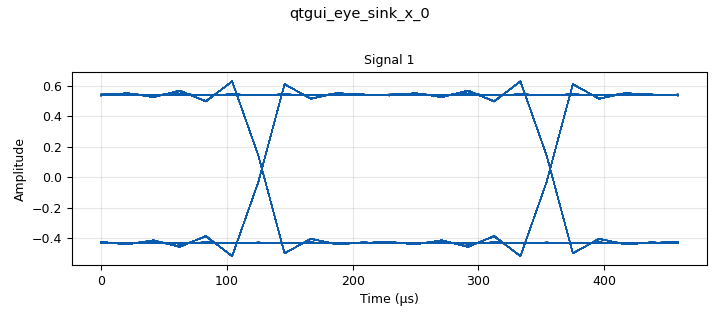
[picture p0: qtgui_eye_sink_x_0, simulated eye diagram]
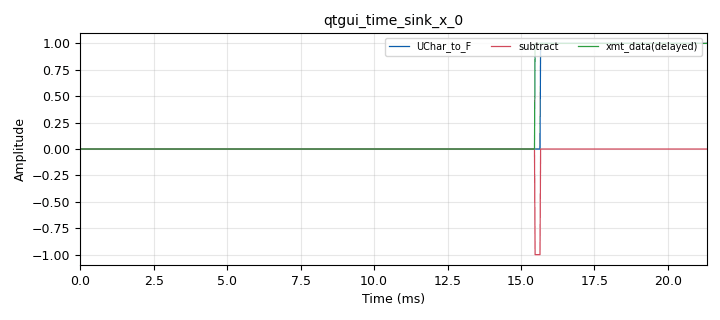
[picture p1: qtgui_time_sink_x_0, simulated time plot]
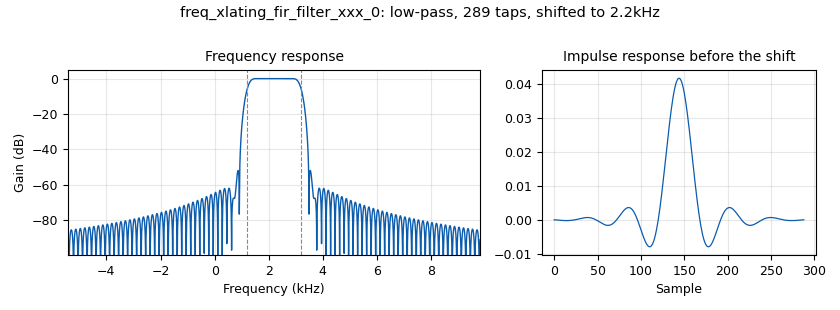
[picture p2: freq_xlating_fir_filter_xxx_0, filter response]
options:
  parameters:
    author: https://wiki.gnuradio.org/index.php/Simulation_example:_FSK
    copyright: Manually entered
    description: 'Trying to understand FSK '
    generate_options: qt_gui
    id: FSK_8BIT_v2
    output_language: python
    title: FSK Round Trip
  states: {}

blocks:
- name: delay
  id: variable_qtgui_range
  parameters:
    label: Delay
    rangeType: int
    start: '10'
    step: '1'
    stop: '200'
    value: '135'
  states: {}
- name: fsk_deviation_hz
  id: variable
  parameters:
    value: '175'
  states: {}
- name: samp_rate
  id: variable
  parameters:
    value: '48000'
  states: {}
- name: sps
  id: variable
  parameters:
    value: '11'
  states: {}
- name: squelch
  id: variable_qtgui_range
  parameters:
    label: Squalch
    rangeType: int
    start: '-100'
    step: '5'
    stop: '0'
    value: '-70'
  states: {}
- name: analog_quadrature_demod_cf_0
  id: analog_quadrature_demod_cf
  parameters:
    gain: 48000/(2*math.pi*fsk_deviation_hz)
  states: {}
- name: analog_random_source_x_0
  id: analog_random_source_x
  parameters:
    max: '256'
    min: '0'
    num_samps: '1024'
    repeat: 'True'
    type: byte
  states: {}
- name: analog_simple_squelch_cc_0
  id: analog_simple_squelch_cc
  parameters:
    alpha: '1'
    comment: Squelch from Gui
    threshold: squelch
  states: {}
- name: blocks_add_const_vxx_0
  id: blocks_add_const_vxx
  parameters:
    comment: |-
      VCO
      Voltage Controlled Oscillator
    const: 850/1000
    type: float
  states: {}
- name: blocks_delay_1
  id: blocks_delay
  parameters:
    delay: delay
    type: float
  states: {}
- name: blocks_multiply_const_vxx_0
  id: blocks_multiply_const_vxx
  parameters:
    comment: input amplification
    const: 68/1000
    type: float
  states: {}
- name: blocks_repeat_0
  id: blocks_repeat
  parameters:
    comment: |-
      Calculated as (int)(samp_rate*bit_time)

      bit_time is the time to send 1 bit of data.
      For RTTY (Ham) 45.45 is baud rate... bit_time is 0.022s
      Note: This is 8 bit... not baudot 5 bit....
    interp: int(samp_rate*0.022)
    type: byte
  states: {}
- name: blocks_sub_xx_0
  id: blocks_sub_xx
  parameters:
    type: float
  states: {}
- name: blocks_throttle2_0
  id: blocks_throttle2
  parameters:
    samples_per_second: samp_rate
    type: byte
  states: {}
- name: blocks_uchar_to_float_0
  id: blocks_uchar_to_float
  parameters:
    comment: Convert from byte to float
  states: {}
- name: blocks_uchar_to_float_1
  id: blocks_uchar_to_float
  parameters: {}
  states: {}
- name: blocks_unpack_k_bits_bb_0
  id: blocks_unpack_k_bits_bb
  parameters:
    comment: Convert byte to 8 bits
    k: '8'
  states: {}
- name: blocks_vco_f_0
  id: blocks_vco_f
  parameters:
    amplitude: 500/1000
    samp_rate: samp_rate
    sensitivity: '15708.0'
  states: {}
- name: digital_binary_slicer_fb_0
  id: digital_binary_slicer_fb
  parameters: {}
  states: {}
- name: freq_xlating_fir_filter_xxx_0
  id: freq_xlating_fir_filter_xxx
  parameters:
    center_freq: '2200'
    decim: '1'
    samp_rate: samp_rate
    taps: firdes.low_pass(1.0,48000,1000,400)
    type: fcf
  states: {}
- name: import_0
  id: import
  parameters: {}
  states: {}
- name: qtgui_eye_sink_x_0
  id: qtgui_eye_sink_x
  parameters:
    autoscale: 'True'
    comment: Output seen when synch close +/- 2 ms
    samp_per_symbol: sps
    size: '16384'
    srate: samp_rate
    type: float
  states: {}
- name: qtgui_time_sink_x_0
  id: qtgui_time_sink_x
  parameters:
    autoscale: 'True'
    label1: UChar_to_F
    label2: subtract
    label3: xmt_data(delayed)
    nconnections: '3'
    size: '1024'
    srate: samp_rate
    type: float
  states: {}
- name: rational_resampler_xxx_0
  id: rational_resampler_xxx
  parameters:
    decim: '96'
    interp: '1'
    type: fff
  states: {}
- name: virtual_sink_0
  id: virtual_sink
  parameters:
    comment: |-
      Mark is 1
      Space is 0
    stream_id: xmt_data
  states: {}
- name: virtual_sink_1
  id: virtual_sink
  parameters:
    stream_id: rebuilt
  states: {}
- name: virtual_sink_2
  id: virtual_sink
  parameters:
    comment: FSK Output
    stream_id: fsk_out
  states: {}
- name: virtual_source_0
  id: virtual_source
  parameters:
    stream_id: xmt_data
  states: {}
- name: virtual_source_1
  id: virtual_source
  parameters:
    stream_id: fsk_out
  states: {}
- name: virtual_source_2
  id: virtual_source
  parameters:
    stream_id: rebuilt
  states: {}
- name: virtual_source_3
  id: virtual_source
  parameters:
    stream_id: xmt_data
  states: {}

connections:
- [analog_quadrature_demod_cf_0, '0', digital_binary_slicer_fb_0, '0']
- [analog_quadrature_demod_cf_0, '0', rational_resampler_xxx_0, '0']
- [analog_random_source_x_0, '0', blocks_unpack_k_bits_bb_0, '0']
- [analog_simple_squelch_cc_0, '0', analog_quadrature_demod_cf_0, '0']
- [blocks_add_const_vxx_0, '0', blocks_vco_f_0, '0']
- [blocks_delay_1, '0', blocks_sub_xx_0, '1']
- [blocks_delay_1, '0', qtgui_time_sink_x_0, '2']
- [blocks_multiply_const_vxx_0, '0', blocks_add_const_vxx_0, '0']
- [blocks_repeat_0, '0', blocks_throttle2_0, '0']
- [blocks_sub_xx_0, '0', qtgui_time_sink_x_0, '1']
- [blocks_throttle2_0, '0', blocks_uchar_to_float_0, '0']
- [blocks_uchar_to_float_0, '0', virtual_sink_0, '0']
- [blocks_uchar_to_float_1, '0', qtgui_time_sink_x_0, '0']
- [blocks_uchar_to_float_1, '0', virtual_sink_1, '0']
- [blocks_unpack_k_bits_bb_0, '0', blocks_repeat_0, '0']
- [blocks_vco_f_0, '0', virtual_sink_2, '0']
- [digital_binary_slicer_fb_0, '0', blocks_uchar_to_float_1, '0']
- [freq_xlating_fir_filter_xxx_0, '0', analog_simple_squelch_cc_0, '0']
- [rational_resampler_xxx_0, '0', qtgui_eye_sink_x_0, '0']
- [virtual_source_0, '0', blocks_multiply_const_vxx_0, '0']
- [virtual_source_1, '0', freq_xlating_fir_filter_xxx_0, '0']
- [virtual_source_2, '0', blocks_sub_xx_0, '0']
- [virtual_source_3, '0', blocks_delay_1, '0']

metadata:
  file_format: 1
  grc_version: 3.10.7.0
